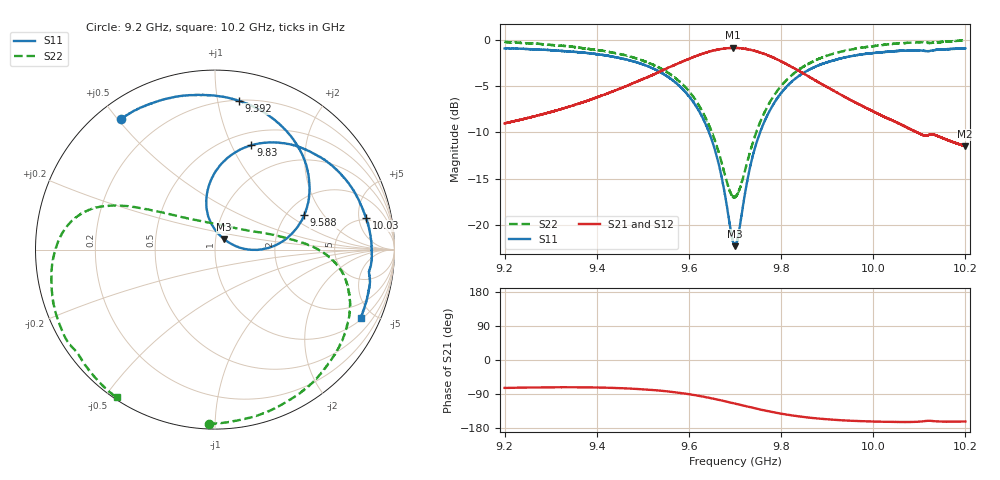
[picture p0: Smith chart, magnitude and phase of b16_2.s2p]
!Agilent Technologies,N5242A,MY51221714,A.09.90.19
!Agilent N5242A: A.09.90.19
!Date: Saturday, March 16, 2024 09:34:33
!Correction: S11(Full 2 Port(1,2))
!S21(Full 2 Port(1,2))
!S12(Full 2 Port(1,2))
!S22(Full 2 Port(1,2))
!S2P File: Measurements: S11, S21, S12, S22:
# Hz S  dB  R 50
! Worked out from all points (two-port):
!   16001 points, 9.2 GHz to 10.2 GHz, reference 50 ohm
!   highest |S21| = -0.88 dB at 9.696 GHz (marker M1); lowest = -11.5 dB at 10.2 GHz (marker M2)
!   |S21| within 3 dB of the highest: 9.518 GHz to 9.857 GHz (338.4 MHz wide, 3.49 % of centre); 9.856654 GHz to 9.856772 GHz (117.5 kHz wide, 0.00119 % of centre)
!   lowest |S11| = -22.3 dB at 9.699 GHz (marker M3), VSWR 1.17, Z = 55 + j6.32 ohm
!   |S11| at or under -10 dB: 9.643 GHz to 9.754 GHz (111 MHz wide, 1.14 % of centre)
!   |S22| runs from -17.1 to -0.1 dB; largest |S21 - S12| = 0.012
!   S11 on the Smith chart (normalised r, x): 9.2 GHz: 0.07, +0.51; 9.392 GHz: 0.20, +1.15; 9.588 GHz: 2.46, +1.33; 9.83 GHz: 0.64, +1.19; 10.03 GHz: 4.65, +6.26; 10.2 GHz: 1.10, -4.23
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9.2e9  -0.95 125.7  -9.04 -73.7  -9.02 -74.3  -0.24 -92.1
9.277625e9  -1.08 108.2  -8.11 -72.3  -8.09 -72.8  -0.47 -70.7
9.366688e9  -1.38 87.2  -6.82 -72.2  -6.79 -72.6  -0.89 -47.1
9.3915e9  -1.52 81.0  -6.39 -72.3  -6.37 -73.0  -1.06 -40.7
9.46125e9  -2.11 62.2  -5.07 -74.8  -5.06 -75.4  -1.68 -24.2
9.533375e9  -3.39 40.2  -3.54 -80.4  -3.52 -80.9  -2.95 -9.3
9.588438e9  -5.47 21.3  -2.32 -88.2  -2.31 -88.7  -4.92 0.6
9.651438e9  -11.11 0.9  -1.19 -101.7  -1.19 -102.2  -10.21 16.6
9.6705e9  -14.76 0.3  -1.00 -106.8  -0.99 -107.3  -13.20 28.8
9.69575e9  -21.81 35.8  -0.88 -113.9  -0.87 -114.5  -16.92 71.6
9.699188e9  -22.30 48.1  -0.90 -114.9  -0.87 -115.5  -17.01 80.2
9.7e9  -22.19 50.8  -0.89 -115.1  -0.87 -115.7  -17.03 81.9
9.733375e9  -13.61 101.7  -1.09 -124.9  -1.08 -125.5  -12.01 134.4
9.753625e9  -10.10 98.3  -1.38 -130.3  -1.36 -131.0  -9.02 144.4
9.830375e9  -4.22 71.0  -3.14 -147.3  -3.14 -147.9  -3.54 158.7
9.866688e9  -3.10 58.2  -4.18 -152.8  -4.18 -153.4  -2.43 163.9
9.950438e9  -1.80 32.4  -6.50 -160.3  -6.51 -160.8  -1.09 178.7
1.003006e10  -1.32 11.8  -8.48 -163.0  -8.47 -163.7  -0.53 -164.5
1.003338e10  -1.31 10.9  -8.56 -163.2  -8.54 -163.8  -0.51 -163.8
1.010438e10  -1.18 -5.7  -10.25 -162.3  -10.24 -162.9  -0.28 -147.8
1.019931e10  -0.95 -24.9  -11.52 -162.3  -11.48 -163.1  -0.10 -123.8
1.02e10  -0.95 -25.1  -11.51 -162.4  -11.51 -162.9  -0.10 -123.6
